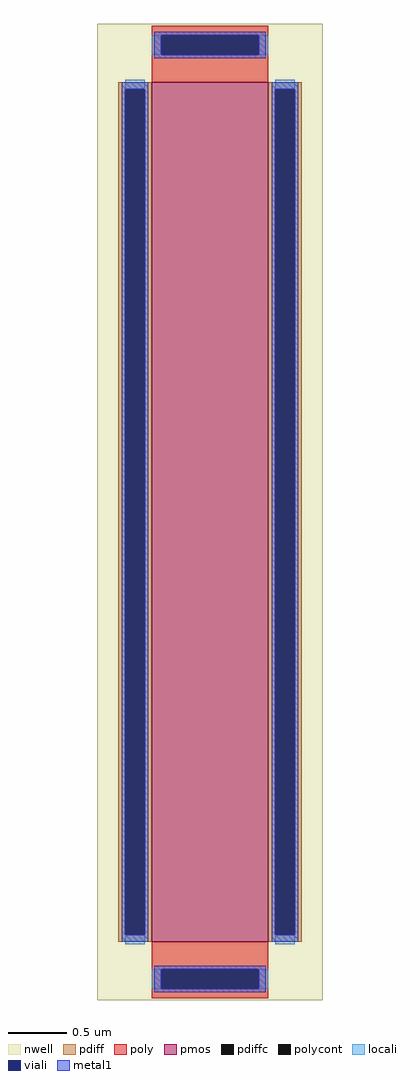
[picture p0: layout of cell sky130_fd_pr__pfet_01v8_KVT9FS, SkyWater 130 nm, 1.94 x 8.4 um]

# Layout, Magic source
magic
tech sky130A
magscale 1 2
<< nwell >>
rect -194 -840 194 840
<< pmos >>
rect -100 -740 100 740
<< pdiff >>
rect -158 728 -100 740
rect -158 -728 -146 728
rect -112 -728 -100 728
rect -158 -740 -100 -728
rect 100 728 158 740
rect 100 -728 112 728
rect 146 -728 158 728
rect 100 -740 158 -728
<< pdiffc >>
rect -146 -728 -112 728
rect 112 -728 146 728
<< poly >>
rect -100 821 100 837
rect -100 787 -84 821
rect 84 787 100 821
rect -100 740 100 787
rect -100 -787 100 -740
rect -100 -821 -84 -787
rect 84 -821 100 -787
rect -100 -837 100 -821
<< polycont >>
rect -84 787 84 821
rect -84 -821 84 -787
<< locali >>
rect -100 787 -84 821
rect 84 787 100 821
rect -146 728 -112 744
rect -146 -744 -112 -728
rect 112 728 146 744
rect 112 -744 146 -728
rect -100 -821 -84 -787
rect 84 -821 100 -787
<< viali >>
rect -84 787 84 821
rect -146 -728 -112 728
rect 112 -728 146 728
rect -84 -821 84 -787
<< metal1 >>
rect -96 821 96 827
rect -96 787 -84 821
rect 84 787 96 821
rect -96 781 96 787
rect -152 728 -106 740
rect -152 -728 -146 728
rect -112 -728 -106 728
rect -152 -740 -106 -728
rect 106 728 152 740
rect 106 -728 112 728
rect 146 -728 152 728
rect 106 -740 152 -728
rect -96 -787 96 -781
rect -96 -821 -84 -787
rect 84 -821 96 -787
rect -96 -827 96 -821
<< properties >>
string gencell sky130_fd_pr__pfet_01v8
string library sky130
string parameters w 7.4 l 1.0 m 1 nf 1 diffcov 100 polycov 100 guard 0 glc 1 grc 1 gtc 1 gbc 1 tbcov 100 rlcov 100 topc 1 botc 1 poverlap 0 doverlap 1 lmin 0.15 wmin 0.42 compatible {sky130_fd_pr__pfet_01v8  sky130_fd_pr__pfet_01v8_lvt sky130_fd_pr__pfet_01v8_hvt  sky130_fd_pr__pfet_g5v0d10v5} full_metal 1 viasrc 100 viadrn 100 viagate 100 viagb 0 viagr 0 viagl 0 viagt 0
<< end >>
